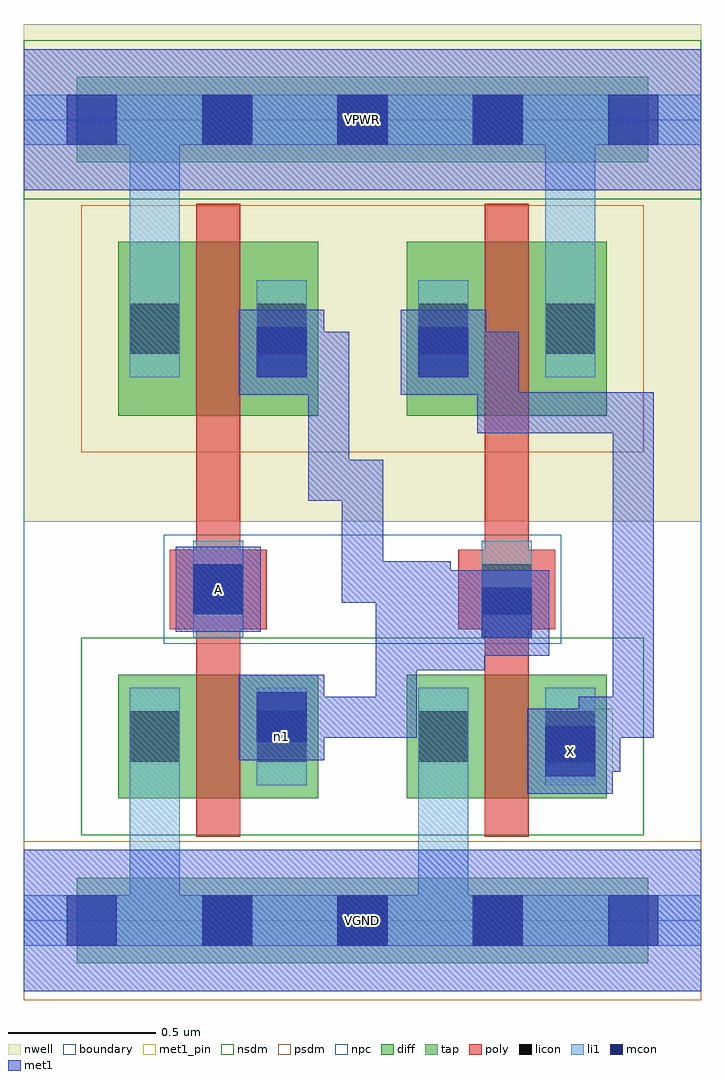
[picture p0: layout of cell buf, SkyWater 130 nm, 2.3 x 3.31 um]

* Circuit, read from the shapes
.subckt buf A VGND VPWR X n1
XM1 n1 A VGND VGND sky130_fd_pr__nfet_01v8 w=0.42 l=0.15
XM2 X n1 VGND VGND sky130_fd_pr__nfet_01v8 w=0.42 l=0.15
XM3 n1 A VPWR VPWR sky130_fd_pr__pfet_01v8 w=0.59 l=0.15
XM4 VPWR n1 X VPWR sky130_fd_pr__pfet_01v8 w=0.59 l=0.15
.ends

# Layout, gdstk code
import gdstk
lib = gdstk.Library(unit=1e-6, precision=1e-09)
def R(c, l, rs):  # rectangles x0, y0, x1, y1
    for r in rs: c.add(gdstk.rectangle(r[:2], r[2:], *l))
def A(c, l, x, y, w, h, nx, ny, dx, dy):  # array of equal rectangles
    R(c, l, [(x+i*dx, y+j*dy, x+i*dx+w, y+j*dy+h) for i in range(nx) for j in range(ny)])
nwell = (64, 20)
diff = (65, 20)
tap = (65, 44)
poly = (66, 20)
licon = (66, 44)
li1 = (67, 20)
mcon = (67, 44)
met1_pin = (68, 16)
met1 = (68, 20)
nsdm = (93, 44)
psdm = (94, 20)
npc = (95, 20)
boundary = (235, 4)

buf = lib.new_cell('buf')
R(buf, nwell, [(0,1.355,2.3,3.045)])
R(buf, diff, [(0.32,0.415,1,0.835), (1.3,0.415,1.98,0.835), (0.32,1.715,1,2.305), (1.3,1.715,1.98,2.305)])
R(buf, tap, [(0.18,-0.145,2.12,0.145), (0.18,2.575,2.12,2.865)])
R(buf, poly, [(0.585,0.285,0.735,2.435), (1.565,0.285,1.715,2.435), (0.495,0.99,0.825,1.26), (1.475,0.99,1.805,1.26)])
A(buf, licon, 0.605, -0.085, 0.17, 0.17, 3, 2, 0.46, 2.72)
R(buf, licon, [(0.36,0.54,0.53,0.71), (0.79,0.54,0.96,0.71), (1.34,0.54,1.51,0.71), (1.77,0.54,1.94,0.71), (0.575,1.04,0.745,1.21), (1.555,1.04,1.725,1.21), (0.36,1.925,0.53,2.095), (0.79,1.925,0.96,2.095), (1.34,1.925,1.51,2.095), (1.77,1.925,1.94,2.095)])
R(buf, li1, [(0,-0.085,2.3,0.085), (0.36,-0.085,0.53,0.79), (1.34,-0.085,1.51,0.79), (0.36,0.46,0.53,0.79), (0.79,0.46,0.96,0.79), (1.34,0.46,1.51,0.79), (1.77,0.46,1.94,0.79), (0.575,0.96,0.745,1.29), (1.555,0.96,1.725,1.29), (0.36,1.845,0.53,2.175), (0.36,1.845,0.53,2.805), (0.79,1.845,0.96,2.175), (1.34,1.845,1.51,2.175), (1.77,1.845,1.94,2.175), (1.77,1.845,1.94,2.805), (0,2.635,2.3,2.805)])
A(buf, mcon, 0.145, -0.085, 0.17, 0.17, 5, 2, 0.46, 2.72)
R(buf, mcon, [(1.77,0.49,1.94,0.66), (0.79,0.605,0.96,0.775), (1.555,0.96,1.725,1.13), (0.575,1.04,0.745,1.21), (0.79,1.845,0.96,2.015), (1.34,1.845,1.51,2.015)])
R(buf, met1_pin, [(0,-0.24,2.3,0.24), (1.71,0.43,2,0.72), (0.515,0.98,0.805,1.27), (0,2.48,2.3,2.96)])
R(buf, met1, [(0,-0.24,2.3,0.24), (1.71,0.43,2,0.72), (1.785,0.505,2.025,0.645), (1.885,0.505,2.025,0.76), (0.73,0.545,1.02,0.835), (0.805,0.62,1.105,0.76), (0.965,0.62,1.335,0.76), (1.195,0.62,1.335,0.99), (1.885,0.62,2.14,0.76), (2,0.62,2.14,1.795), (1.195,0.85,1.565,0.99), (1.31,0.85,1.45,1.22), (1.425,0.85,1.565,1.115), (1.45,0.9,1.495,1.19), (1.495,0.9,1.785,1.19), (1.425,0.975,1.71,1.115), (0.515,0.98,0.805,1.27), (1.195,0.99,1.335,1.08), (1.195,0.99,1.45,1.08), (1.195,0.99,1.22,1.08), (1.08,1.08,1.45,1.22), (1.08,1.08,1.22,1.565), (1.45,1.08,1.495,1.19), (0.965,1.425,1.105,1.91), (0.965,1.425,1.22,1.565), (1.54,1.655,1.68,1.91), (1.54,1.655,2.14,1.795), (0.965,1.77,1.105,2), (1.54,1.77,1.68,2), (0.73,1.785,1.02,2.075), (1.28,1.785,1.57,2.075), (0.805,1.86,1.105,2), (1.355,1.86,1.68,2), (0,2.48,2.3,2.96)])
R(buf, nsdm, [(0.195,0.29,2.105,0.96), (0,2.45,2.3,2.99)])
R(buf, psdm, [(0,-0.27,2.3,0.27), (0.195,1.59,2.105,2.43)])
R(buf, npc, [(0.475,0.94,1.825,1.31)])
R(buf, boundary, [(0,0,2.3,2.72)])
buf.add(gdstk.Label('n1', (0.875,0.625), layer=67, texttype=5))
buf.add(gdstk.Label('A', (0.66,1.125), layer=68, texttype=5))
buf.add(gdstk.Label('X', (1.855,0.575), layer=68, texttype=5))
buf.add(gdstk.Label('VPWR', (1.15,2.72), layer=68, texttype=5))
buf.add(gdstk.Label('VGND', (1.15,0), layer=68, texttype=5))
buf.add(gdstk.Label('A', (0.66,1.125), layer=68, texttype=16))
buf.add(gdstk.Label('X', (1.855,0.575), layer=68, texttype=16))
buf.add(gdstk.Label('VPWR', (1.15,2.72), layer=68, texttype=16))
buf.add(gdstk.Label('VGND', (1.15,0), layer=68, texttype=16))

lib.write_gds('buf.gds')
